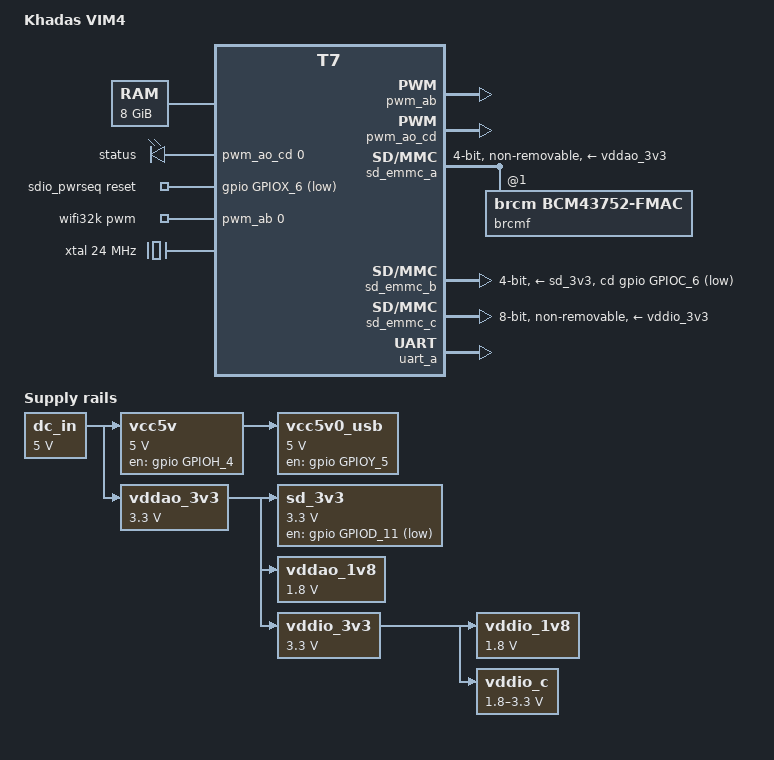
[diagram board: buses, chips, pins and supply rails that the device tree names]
// SPDX-License-Identifier: (GPL-2.0+ OR MIT)
/*
 * Copyright (c) 2022 Wesion, Inc. All rights reserved.
 */

/dts-v1/;

#include "amlogic-t7.dtsi"
#include <dt-bindings/gpio/amlogic,t7-periphs-pinctrl.h>
#include <dt-bindings/gpio/gpio.h>

/ {
	model = "Khadas VIM4";
	compatible = "khadas,vim4", "amlogic,a311d2", "amlogic,t7";

	aliases {
		serial0 = &uart_a;
		mmc0 = &sd_emmc_c;
		mmc1 = &sd_emmc_b;
		mmc2 = &sd_emmc_a;
	};

	memory@0 {
		device_type = "memory";
		reg = <0x0 0x0 0x0 0xE0000000
			0x1 0x0 0x0 0xE0000000
			0x2 0x0 0x0 0x40000000>; /* 8 GB */
	};

	reserved-memory {
		#address-cells = <2>;
		#size-cells = <2>;
		ranges;

		/* 3 MiB reserved for ARM Trusted Firmware (BL31) */
		secmon_reserved: secmon@5000000 {
			reg = <0x0 0x05000000 0x0 0x300000>;
			no-map;
		};

		/* 32 MiB reserved for ARM Trusted Firmware (BL32) */
		secmon_reserved_bl32: secmon@5300000 {
			reg = <0x0 0x05300000 0x0 0x2000000>;
			no-map;
		};
	};

	dc_in: regulator-dc-in {
		compatible = "regulator-fixed";
		regulator-name = "DC_IN";
		regulator-min-microvolt = <5000000>;
		regulator-max-microvolt = <5000000>;
		regulator-always-on;
	};

	pwm-leds {
		compatible = "pwm-leds";

		status {
			linux,default-trigger="heartbeat";
			max-brightness = <255>;
			pwms = <&pwm_ao_cd 0 30040 0>;
		};
	};

	sd_3v3: regulator-sdcard-3v3 {
		compatible = "regulator-fixed";
		regulator-name = "SD_3V3";
		regulator-min-microvolt = <3300000>;
		regulator-max-microvolt = <3300000>;
		vin-supply = <&vddao_3v3>;
		gpio = <&gpio GPIOD_11 GPIO_ACTIVE_LOW>;
		regulator-boot-on;
		regulator-always-on;
	};

	sdio_pwrseq: sdio-pwrseq {
		compatible = "mmc-pwrseq-simple";
		reset-gpios = <&gpio GPIOX_6 GPIO_ACTIVE_LOW>;
		post-power-on-delay-ms = <500>;
		power-off-delay-us = <200000>;
		clocks = <&wifi32k>;
		clock-names = "ext_clock";
	};

	vcc5v: regulator-vcc-5v {
		compatible = "regulator-fixed";
		regulator-name = "VCC5V";
		regulator-min-microvolt = <5000000>;
		regulator-max-microvolt = <5000000>;
		vin-supply = <&dc_in>;

		gpio = <&gpio GPIOH_4 GPIO_ACTIVE_HIGH>;
		enable-active-high;
	};

	vcc5v0_usb: regulator-vcc-usb {
		compatible = "regulator-fixed";
		regulator-name = "VCC5V0_USB";
		regulator-min-microvolt = <5000000>;
		regulator-max-microvolt = <5000000>;
		vin-supply = <&vcc5v>;

		gpio = <&gpio GPIOY_5 GPIO_ACTIVE_HIGH>;
		enable-active-high;
	};

	vddao_1v8: regulator-vddao-1v8 {
		compatible = "regulator-fixed";
		regulator-name = "VDDAO_1V8";
		regulator-min-microvolt = <1800000>;
		regulator-max-microvolt = <1800000>;
		vin-supply = <&vddao_3v3>;
		regulator-always-on;
	};

	vddao_3v3: regulator-vddao-3v3 {
		compatible = "regulator-fixed";
		regulator-name = "VDDAO_3V3";
		regulator-min-microvolt = <3300000>;
		regulator-max-microvolt = <3300000>;
		vin-supply = <&dc_in>;
		regulator-always-on;
	};

	vddio_1v8: regulator-vddio-1v8 {
		compatible = "regulator-fixed";
		regulator-name = "VDDIO_1V8";
		regulator-min-microvolt = <1800000>;
		regulator-max-microvolt = <1800000>;
		vin-supply = <&vddio_3v3>;
		regulator-always-on;
	};

	vddio_3v3: regulator-vddio-3v3 {
		compatible = "regulator-fixed";
		regulator-name = "VDDIO_3V3";
		regulator-min-microvolt = <3300000>;
		regulator-max-microvolt = <3300000>;
		vin-supply = <&vddao_3v3>;
		regulator-always-on;
	};

	vddio_c: regulator-gpio-c {
		compatible = "regulator-gpio";
		regulator-name = "VDDIO_C";
		regulator-min-microvolt = <1800000>;
		regulator-max-microvolt = <3300000>;
		vin-supply = <&vddio_3v3>;
		gpios = <&gpio GPIOD_9 GPIO_ACTIVE_HIGH>;
		states = <1800000 1
			  3300000 0>;
	};

	wifi32k: wifi32k {
		compatible = "pwm-clock";
		#clock-cells = <0>;
		clock-frequency = <32768>;
			pwms = <&pwm_ab 0 30518 0>;
	};

	xtal: xtal-clk {
		compatible = "fixed-clock";
		clock-frequency = <24000000>;
		clock-output-names = "xtal";
		#clock-cells = <0>;
	};
};

&pwm_ab {
	status = "okay";
	pinctrl-0 = <&pwm_a_pins>;
	pinctrl-names = "default";
};

&pwm_ao_cd {
	status = "okay";
	pinctrl-0 = <&pwm_ao_c_d_pins>;
	pinctrl-names = "default";
};

/* SDIO */
&sd_emmc_a {
	status = "okay";
	pinctrl-0 = <&sdio_pins>;
	pinctrl-1 = <&sdio_clk_gate_pins>;
	pinctrl-names = "default", "clk-gate";
	#address-cells = <1>;
	#size-cells = <0>;

	bus-width = <4>;
	cap-sd-highspeed;
	sd-uhs-sdr12;
	sd-uhs-sdr25;
	sd-uhs-sdr50;
	sd-uhs-sdr104;
	cap-sdio-irq;
	max-frequency = <200000000>;
	non-removable;
	disable-wp;
	no-mmc;
	no-sd;

	power-domains = <&pwrc PWRC_T7_SDIO_A_ID>;

	keep-power-in-suspend;

	mmc-pwrseq = <&sdio_pwrseq>;

	vmmc-supply = <&vddao_3v3>;
	vqmmc-supply = <&vddao_1v8>;

	brcmf: wifi@1 {
		reg = <1>;
		compatible = "brcm,bcm43752-fmac", "brcm,bcm4329-fmac";
	};
};

/* SD card */
&sd_emmc_b {
	status = "okay";
	pinctrl-0 = <&sdcard_pins>;
	pinctrl-1 = <&sdcard_clk_gate_pins>;
	pinctrl-names = "default", "clk-gate";

	bus-width = <4>;
	cap-sd-highspeed;
	sd-uhs-sdr12;
	sd-uhs-sdr25;
	sd-uhs-sdr50;
	sd-uhs-sdr104;
	max-frequency = <200000000>;
	disable-wp;
	no-sdio;
	no-mmc;

	power-domains = <&pwrc PWRC_T7_SDIO_B_ID>;

	cd-gpios = <&gpio GPIOC_6 GPIO_ACTIVE_LOW>;
	vmmc-supply = <&sd_3v3>;
	vqmmc-supply = <&vddio_c>;
};

/* eMMC */
&sd_emmc_c {
	status = "okay";
	pinctrl-0 = <&emmc_ctrl_pins>, <&emmc_data_8b_pins>, <&emmc_ds_pins>;
	pinctrl-1 = <&emmc_clk_gate_pins>;
	pinctrl-names = "default", "clk-gate";

	bus-width = <8>;
	cap-mmc-highspeed;
	mmc-ddr-1_8v;
	mmc-hs200-1_8v;
	max-frequency = <200000000>;
	disable-wp;
	non-removable;
	no-sdio;
	no-sd;

	power-domains = <&pwrc PWRC_T7_EMMC_ID>;

	vmmc-supply = <&vddio_3v3>;
	vqmmc-supply = <&vddio_1v8>;
};

&uart_a {
	status = "okay";
	clocks = <&xtal>, <&xtal>, <&xtal>;
	clock-names = "xtal", "pclk", "baud";
};
